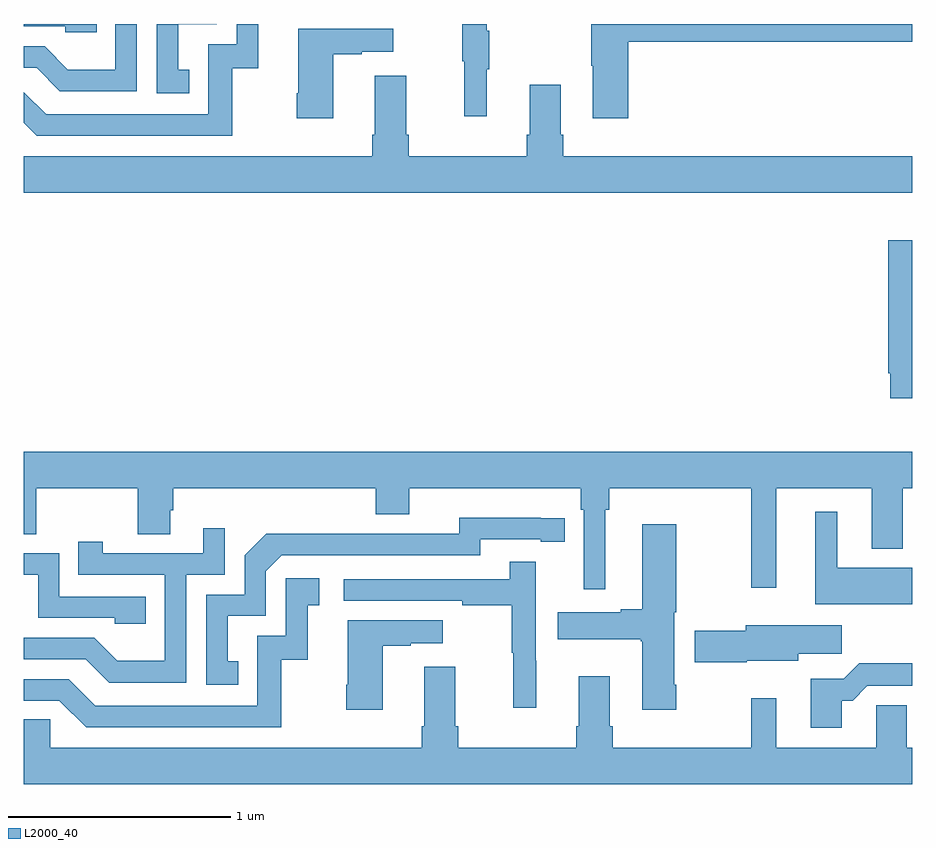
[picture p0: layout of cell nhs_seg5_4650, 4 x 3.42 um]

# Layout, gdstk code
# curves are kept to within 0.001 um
import gdstk
lib = gdstk.Library(unit=1e-6, precision=1e-09)
def P(c, l, *ps):  # polygons
    for p in ps: c.add(gdstk.Polygon(p, *l))
L2000_40 = (2000, 40)

nhs_seg5_4650 = lib.new_cell('nhs_seg5_4650')
P(nhs_seg5_4650, L2000_40, [(383.327,910.799),(383,910.799),(383,910.788),(383.187,910.788),(383.187,910.761),(383.327,910.761)],
  [(383.744,910.593),(383.695,910.593),(383.695,910.797),(383.868,910.797),(383.868,910.799),(383.598,910.799),(383.598,910.488),(383.744,910.488)],
  [(383.508,910.799),(383.412,910.799),(383.412,910.594),(383.198,910.594),(383.094,910.698),(383,910.698),(383,910.602),(383.057,910.602),(383.162,910.497),(383.508,910.497)],
  [(385.085,910.595),(385.096,910.595),(385.096,910.769),(385.085,910.769),(385.085,910.799),(384.975,910.799),(384.975,910.632),(384.982,910.632),(384.982,910.383),(385.085,910.383)],
  [(383.938,910.599),(384.056,910.599),(384.056,910.799),(383.958,910.799),(383.958,910.707),(383.829,910.707),(383.829,910.392),(383.1,910.392),(383,910.492),(383,910.354),(383.058,910.296),(383.938,910.296)],
  [(385.721,910.72),(387,910.72),(387,910.799),(385.555,910.799),(385.555,910.612),(385.562,910.612),(385.562,910.374),(385.721,910.374)],
  [(384.394,910.663),(384.521,910.663),(384.521,910.673),(384.664,910.673),(384.664,910.777),(384.236,910.777),(384.236,910.486),(384.229,910.486),(384.229,910.374),(384.394,910.374)],
  [(387,910.204),(385.43,910.204),(385.43,910.3),(385.417,910.3),(385.417,910.525),(385.277,910.525),(385.277,910.3),(385.265,910.3),(385.265,910.204),(384.734,910.204),(384.734,910.3),(384.721,910.3),(384.721,910.567),(384.581,910.567),(384.581,910.3),(384.569,910.3),(384.569,910.204),(383,910.204),(383,910.04),(387,910.04)],
  [(387,909.824),(386.893,909.824),(386.893,909.226),(386.901,909.226),(386.901,909.114),(387,909.114)],
  [(383,908.5),(383.055,908.5),(383.055,908.708),(383.512,908.708),(383.512,908.5),(383.659,908.5),(383.659,908.61),(383.672,908.61),(383.672,908.708),(384.584,908.708),(384.584,908.591),(384.736,908.591),(384.736,908.708),(385.508,908.708),(385.508,908.612),(385.521,908.612),(385.521,908.253),(385.618,908.253),(385.618,908.612),(385.637,908.612),(385.637,908.708),(386.275,908.708),(386.275,908.259),(386.389,908.259),(386.389,908.708),(386.819,908.708),(386.819,908.435),(386.959,908.435),(386.959,908.708),(387,908.708),(387,908.872),(383,908.872)],
  [(387,908.35),(386.662,908.35),(386.662,908.602),(386.564,908.602),(386.564,908.186),(387,908.186)],
  [(383.966,907.929),(383.917,907.929),(383.917,908.133),(384.09,908.133),(384.09,908.334),(384.162,908.406),(385.056,908.406),(385.056,908.478),(385.328,908.478),(385.328,908.466),(385.436,908.466),(385.436,908.574),(384.96,908.575),(384.96,908.502),(384.5,908.502),(384.5,908.504),(384.092,908.504),(383.994,908.406),(383.994,908.229),(383.82,908.229),(383.82,907.824),(383.966,907.824)],
  [(385.938,907.822),(385.93,907.822),(385.93,908.149),(385.938,908.149),(385.938,908.545),(385.784,908.545),(385.784,908.162),(385.688,908.162),(385.688,908.149),(385.404,908.149),(385.404,908.027),(385.777,908.027),(385.777,908.02),(385.784,908.02),(385.784,907.71),(385.938,907.71)],
  [(383.73,908.319),(383.904,908.319),(383.904,908.527),(383.807,908.527),(383.807,908.415),(383.356,908.415),(383.356,908.467),(383.245,908.467),(383.245,908.319),(383.634,908.319),(383.634,907.93),(383.42,907.93),(383.316,908.034),(383,908.034),(383,907.938),(383.279,907.938),(383.384,907.833),(383.73,907.833)],
  [(383.549,908.22),(383.16,908.22),(383.16,908.415),(383,908.415),(383,908.319),(383.064,908.319),(383.064,908.124),(383.409,908.124),(383.409,908.097),(383.549,908.097)],
  [(385.307,907.931),(385.305,907.931),(385.305,908.377),(385.189,908.377),(385.189,908.298),(384.441,908.298),(384.441,908.202),(384.973,908.202),(384.973,908.182),(385.197,908.182),(385.197,907.968),(385.204,907.968),(385.204,907.719),(385.307,907.719)],
  [(384.16,907.935),(384.278,907.935),(384.278,908.181),(384.331,908.181),(384.331,908.302),(384.18,908.302),(384.18,908.043),(384.051,908.043),(384.051,907.728),(383.322,907.728),(383.202,907.848),(383,907.848),(383,907.752),(383.16,907.752),(383.28,907.632),(384.16,907.632)],
  [(384.616,907.999),(384.743,907.999),(384.743,908.009),(384.886,908.009),(384.886,908.113),(384.458,908.113),(384.458,907.822),(384.451,907.822),(384.451,907.71),(384.616,907.71)],
  [(386.256,907.931),(386.488,907.931),(386.488,907.963),(386.683,907.963),(386.683,908.092),(386.252,908.092),(386.252,908.066),(386.022,908.066),(386.022,907.924),(386.256,907.924)],
  [(386.683,907.751),(386.732,907.751),(386.799,907.818),(387,907.818),(387,907.919),(386.762,907.919),(386.692,907.849),(386.543,907.849),(386.543,907.629),(386.683,907.629)],
  [(387,907.54),(386.977,907.54),(386.977,907.73),(386.838,907.73),(386.838,907.54),(386.389,907.54),(386.389,907.762),(386.275,907.762),(386.275,907.54),(385.652,907.54),(385.652,907.636),(385.639,907.636),(385.639,907.861),(385.499,907.861),(385.499,907.636),(385.487,907.636),(385.487,907.54),(384.956,907.54),(384.956,907.636),(384.943,907.636),(384.943,907.903),(384.803,907.903),(384.803,907.636),(384.791,907.636),(384.791,907.54),(383.118,907.54),(383.118,907.667),(383,907.667),(383,907.376),(387,907.376)])

lib.write_gds('nhs_seg5_4650.gds')
